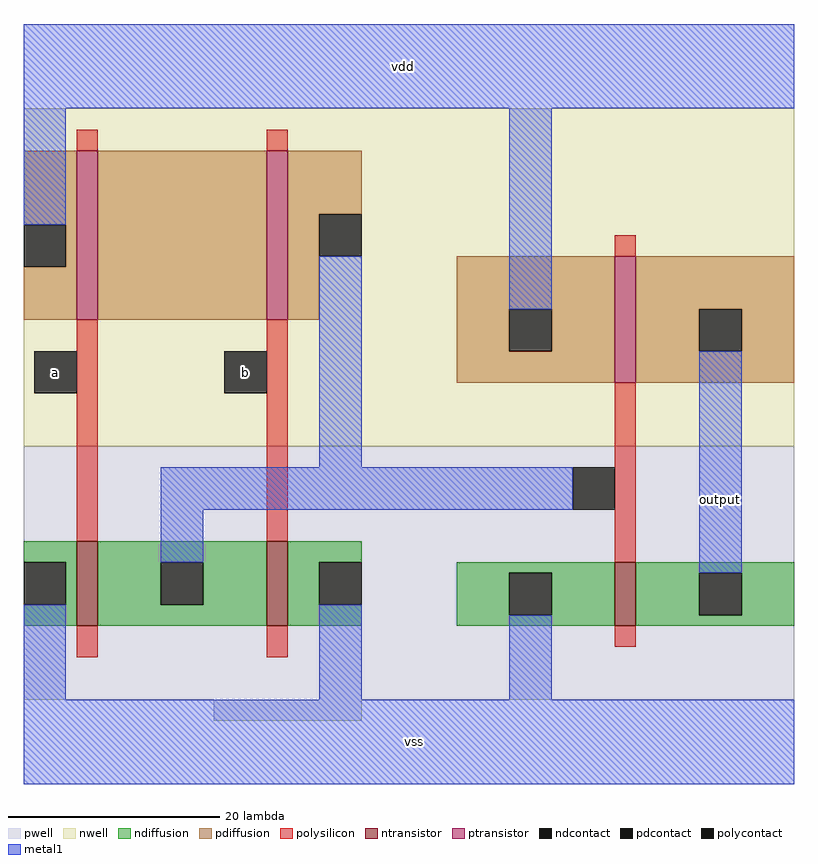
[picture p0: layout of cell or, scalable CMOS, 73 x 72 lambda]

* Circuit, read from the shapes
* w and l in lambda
.subckt or a b output vdd vss
M1 n1 a vss VSUBS nfet w=8 l=2
M2 vss b n1 VSUBS nfet w=8 l=2
M3 output n1 vss VSUBS nfet w=6 l=2
M4 n2 a vdd n3 pfet w=16 l=2
M5 n1 b n2 n3 pfet w=16 l=2
M6 output n1 vdd n3 pfet w=12 l=2
.ends

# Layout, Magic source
magic
tech scmos
<< pwell >>
rect -41 8 32 32
rect -23 6 -9 8
<< nwell >>
rect -41 32 32 64
<< polysilicon >>
rect -36 60 -34 62
rect -18 60 -16 62
rect 15 50 17 52
rect -36 23 -34 44
rect -18 23 -16 44
rect 15 21 17 38
rect -36 12 -34 15
rect -18 12 -16 15
rect 15 13 17 15
<< ndiffusion >>
rect -41 21 -36 23
rect -37 17 -36 21
rect -41 15 -36 17
rect -34 21 -18 23
rect -34 17 -28 21
rect -24 17 -18 21
rect -34 15 -18 17
rect -16 21 -9 23
rect -16 17 -13 21
rect -16 15 -9 17
rect 0 20 15 21
rect 0 16 5 20
rect 9 16 15 20
rect 0 15 15 16
rect 17 20 32 21
rect 17 16 23 20
rect 27 16 32 20
rect 17 15 32 16
<< pdiffusion >>
rect -41 53 -36 60
rect -37 49 -36 53
rect -41 44 -36 49
rect -34 44 -18 60
rect -16 54 -9 60
rect -16 44 -13 54
rect 0 45 15 50
rect 0 41 5 45
rect 9 41 15 45
rect 0 38 15 41
rect 17 45 32 50
rect 17 41 23 45
rect 27 41 32 45
rect 17 38 32 41
<< metal1 >>
rect -41 64 32 72
rect -41 53 -37 64
rect -13 30 -9 50
rect 5 45 9 64
rect -28 26 11 30
rect -28 21 -24 26
rect 23 20 27 41
rect -41 8 -37 17
rect -13 8 -9 17
rect 5 8 9 16
rect -41 0 32 8
<< ntransistor >>
rect -36 15 -34 23
rect -18 15 -16 23
rect 15 15 17 21
<< ptransistor >>
rect -36 44 -34 60
rect -18 44 -16 60
rect 15 38 17 50
<< polycontact >>
rect -40 37 -36 41
rect -22 37 -18 41
rect 11 26 15 30
<< ndcontact >>
rect -41 17 -37 21
rect -28 17 -24 21
rect -13 17 -9 21
rect 5 16 9 20
rect 23 16 27 20
<< pdcontact >>
rect -41 49 -37 53
rect -13 50 -9 54
rect 5 41 9 45
rect 23 41 27 45
<< labels >>
rlabel metal1 25 27 25 27 1 output
rlabel polycontact -38 39 -38 39 3 a
rlabel polycontact -20 39 -20 39 1 b
rlabel metal1 -4 4 -4 4 1 vss
rlabel metal1 -5 68 -5 68 5 vdd
<< end >>
